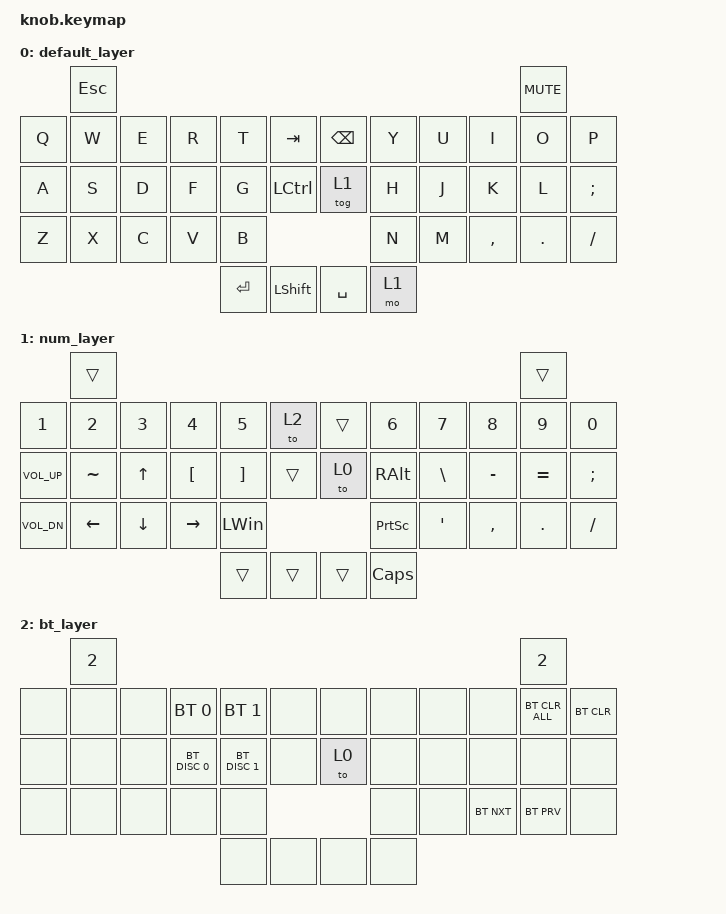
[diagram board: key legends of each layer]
#include <behaviors.dtsi>
#include <dt-bindings/zmk/bt.h>
#include <dt-bindings/zmk/keys.h>

/ {

    keymap {
        compatible = "zmk,keymap";

        default_layer {
            bindings = <
		 &kp ESC                                                                     	 &kp  C_MUTE
&kp Q    &kp W  &kp E  &kp R  &kp T      &kp TAB     &kp BSPC   &kp Y  &kp U  &kp I      &kp O     &kp P
&kp A    &kp S  &kp D  &kp F  &kp G      &kp LCTRL   &tog 1     &kp H  &kp J  &kp K  	 &kp L     &kp SEMI
&kp Z    &kp X  &kp C  &kp V  &kp B                             &kp N  &kp M  &kp COMMA  &kp DOT   &kp FSLH
                              &kp ENTER  &kp LSHIFT  &kp SPACE  &mo 1
            >;
        };

        num_layer {
            bindings = <
			  &trans                                                                                                          &trans
&kp N1        &kp N2     &kp N3    &kp N4            &kp N5             &to 2   &trans  &kp N6           &kp N7    &kp N8     &kp N9      &kp N0
&kp C_VOL_UP  &kp TILDE  &kp UP    &kp LEFT_BRACKET  &kp RIGHT_BRACKET  &trans  &to 0   &kp RALT         &kp BSLH  &kp MINUS  &kp EQUAL   &kp SEMI
&kp C_VOL_DN  &kp LEFT   &kp DOWN  &kp RIGHT         &kp LEFT_WIN                       &kp PRINTSCREEN  &kp APOS  &kp COMMA  &kp DOT     &kp FSLH
                                                     &trans             &trans  &trans  &kp CAPS
            >;
        };

        bt_layer {
            bindings = <
		&kp N2                                                                              &kp N2
&none   &none  &none  &bt BT_SEL 0   &bt BT_SEL 1   &none  &none  &none  &none  &none       &bt BT_CLR_ALL  &bt BT_CLR
&none   &none  &none  &bt BT_DISC 0  &bt BT_DISC 1  &none  &to 0  &none  &none  &none       &none           &none
&none   &none  &none  &none          &none                        &none  &none  &bt BT_NXT  &bt BT_PRV      &none
                                     &none          &none  &none  &none
            >;
        };
    };
};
